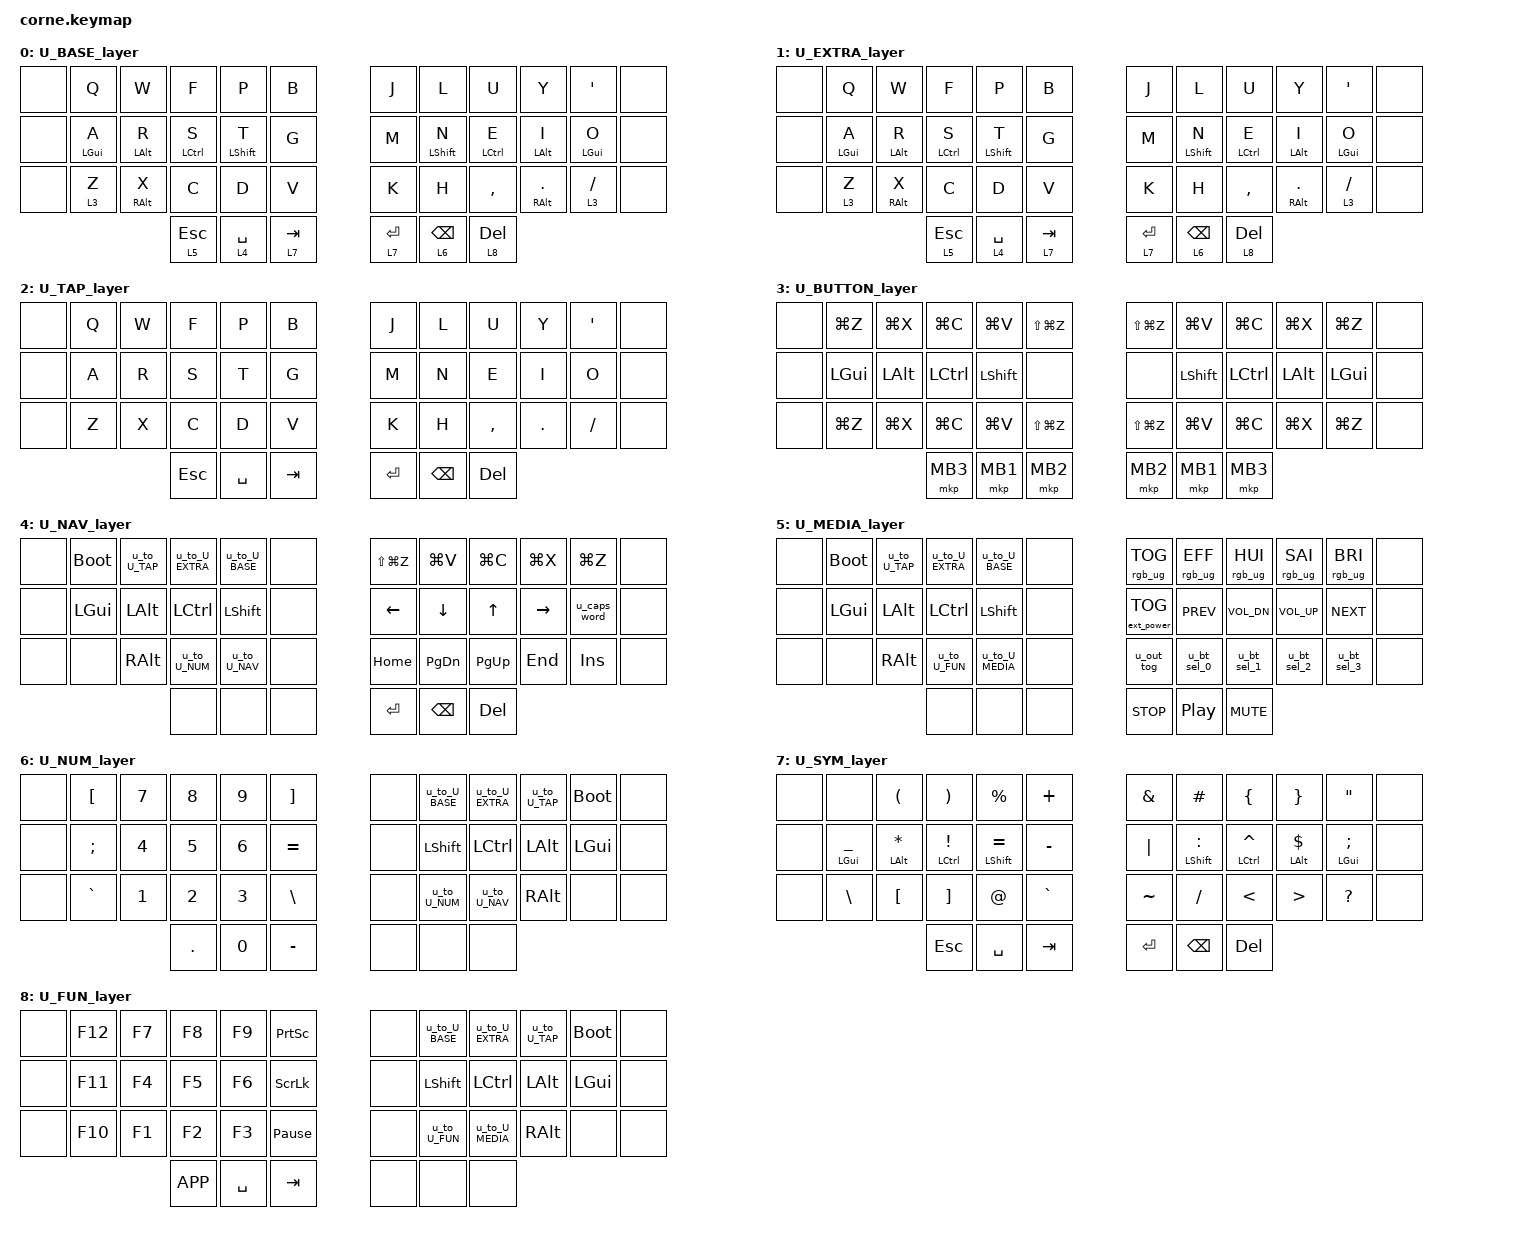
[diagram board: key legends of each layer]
#include <behaviors.dtsi>
#include <dt-bindings/zmk/keys.h>
#include <dt-bindings/zmk/bt.h>
#include <dt-bindings/zmk/ext_power.h>
#include <dt-bindings/zmk/mouse.h>
#include <dt-bindings/zmk/outputs.h>
#include <dt-bindings/zmk/rgb.h>

/ {
  behaviors {
    u_mt: u_mt {
      compatible = "zmk,behavior-hold-tap";
      #binding-cells = <2>;
      tapping-term-ms = <200>;
      flavor = "tap-preferred";
      bindings = <&kp>, <&kp>;
    };
    u_lt: u_lt {
      compatible = "zmk,behavior-hold-tap";
      #binding-cells = <2>;
      tapping-term-ms = <200>;
      flavor = "tap-preferred";
      bindings = <&mo>, <&kp>;
    };
    u_caps_word: u_caps_word {
      compatible = "zmk,behavior-mod-morph";
      #binding-cells = <0>;
      bindings = <&caps_word>, <&kp CAPS>;
      mods = <(MOD_LSFT|MOD_RSFT)>;
    };
    u_out_tog: u_out_tog {
      compatible = "zmk,behavior-mod-morph";
      #binding-cells = <0>;
      bindings = <&out OUT_TOG>, <&out OUT_USB>;
      mods = <(MOD_LSFT|MOD_RSFT)>;
    };
    u_bt_sel_0: u_bt_sel_0 {
      compatible = "zmk,behavior-mod-morph";
      #binding-cells = <0>;
      bindings = <&bt BT_SEL 0>, <&u_macro_u_bt_sel_0>;
      mods = <(MOD_LSFT|MOD_RSFT)>;
    };
    u_bt_sel_1: u_bt_sel_1 {
      compatible = "zmk,behavior-mod-morph";
      #binding-cells = <0>;
      bindings = <&bt BT_SEL 1>, <&u_macro_u_bt_sel_1>;
      mods = <(MOD_LSFT|MOD_RSFT)>;
    };
    u_bt_sel_2: u_bt_sel_2 {
      compatible = "zmk,behavior-mod-morph";
      #binding-cells = <0>;
      bindings = <&bt BT_SEL 2>, <&u_macro_u_bt_sel_2>;
      mods = <(MOD_LSFT|MOD_RSFT)>;
    };
    u_bt_sel_3: u_bt_sel_3 {
      compatible = "zmk,behavior-mod-morph";
      #binding-cells = <0>;
      bindings = <&bt BT_SEL 3>, <&u_macro_u_bt_sel_3>;
      mods = <(MOD_LSFT|MOD_RSFT)>;
    };
    u_to_U_BASE: u_to_U_BASE {
      compatible = "zmk,behavior-tap-dance";
      #binding-cells = <0>;
      tapping-term-ms = <200>;
      bindings = <&none>, <&to 0>;
    };
    u_to_U_EXTRA: u_to_U_EXTRA {
      compatible = "zmk,behavior-tap-dance";
      #binding-cells = <0>;
      tapping-term-ms = <200>;
      bindings = <&none>, <&to 1>;
    };
    u_to_U_TAP: u_to_U_TAP {
      compatible = "zmk,behavior-tap-dance";
      #binding-cells = <0>;
      tapping-term-ms = <200>;
      bindings = <&none>, <&to 2>;
    };
    u_to_U_BUTTON: u_to_U_BUTTON {
      compatible = "zmk,behavior-tap-dance";
      #binding-cells = <0>;
      tapping-term-ms = <200>;
      bindings = <&none>, <&to 3>;
    };
    u_to_U_NAV: u_to_U_NAV {
      compatible = "zmk,behavior-tap-dance";
      #binding-cells = <0>;
      tapping-term-ms = <200>;
      bindings = <&none>, <&to 4>;
    };
    u_to_U_MEDIA: u_to_U_MEDIA {
      compatible = "zmk,behavior-tap-dance";
      #binding-cells = <0>;
      tapping-term-ms = <200>;
      bindings = <&none>, <&to 5>;
    };
    u_to_U_NUM: u_to_U_NUM {
      compatible = "zmk,behavior-tap-dance";
      #binding-cells = <0>;
      tapping-term-ms = <200>;
      bindings = <&none>, <&to 6>;
    };
    u_to_U_SYM: u_to_U_SYM {
      compatible = "zmk,behavior-tap-dance";
      #binding-cells = <0>;
      tapping-term-ms = <200>;
      bindings = <&none>, <&to 7>;
    };
    u_to_U_FUN: u_to_U_FUN {
      compatible = "zmk,behavior-tap-dance";
      #binding-cells = <0>;
      tapping-term-ms = <200>;
      bindings = <&none>, <&to 8>;
    };
  };

  macros {
    u_macro_u_bt_sel_0: u_macro_u_bt_sel_0 {
      compatible = "zmk,behavior-macro";
      #binding-cells = <0>;
      wait-ms = <0>;
      bindings = <&bt BT_SEL 0>, <&bt BT_CLR>;
    };
    u_macro_u_bt_sel_1: u_macro_u_bt_sel_1 {
      compatible = "zmk,behavior-macro";
      #binding-cells = <0>;
      wait-ms = <0>;
      bindings = <&bt BT_SEL 1>, <&bt BT_CLR>;
    };
    u_macro_u_bt_sel_2: u_macro_u_bt_sel_2 {
      compatible = "zmk,behavior-macro";
      #binding-cells = <0>;
      wait-ms = <0>;
      bindings = <&bt BT_SEL 2>, <&bt BT_CLR>;
    };
    u_macro_u_bt_sel_3: u_macro_u_bt_sel_3 {
      compatible = "zmk,behavior-macro";
      #binding-cells = <0>;
      wait-ms = <0>;
      bindings = <&bt BT_SEL 3>, <&bt BT_CLR>;
    };
  };

  keymap {
    compatible = "zmk,keymap";

    // 0: BASE (Colemak DH)
    U_BASE_layer {
      bindings = <
        &none  &kp Q          &kp W          &kp F          &kp P          &kp B          &kp J          &kp L          &kp U          &kp Y          &kp SQT        &none
        &none  &u_mt LGUI A   &u_mt LALT R   &u_mt LCTRL S  &u_mt LSHFT T  &kp G          &kp M          &u_mt LSHFT N  &u_mt LCTRL E  &u_mt LALT I   &u_mt LGUI O   &none
        &none  &u_lt 3 Z      &u_mt RALT X   &kp C          &kp D          &kp V          &kp K          &kp H          &kp COMMA      &u_mt RALT DOT &u_lt 3 SLASH  &none
                              &u_lt 5 ESC    &u_lt 4 SPACE  &u_lt 7 TAB    &u_lt 7 RET    &u_lt 6 BSPC   &u_lt 8 DEL
      >;
    };

    // 1: EXTRA (same as BASE — no alternate alpha layout defined)
    U_EXTRA_layer {
      bindings = <
        &none  &kp Q          &kp W          &kp F          &kp P          &kp B          &kp J          &kp L          &kp U          &kp Y          &kp SQT        &none
        &none  &u_mt LGUI A   &u_mt LALT R   &u_mt LCTRL S  &u_mt LSHFT T  &kp G          &kp M          &u_mt LSHFT N  &u_mt LCTRL E  &u_mt LALT I   &u_mt LGUI O   &none
        &none  &u_lt 3 Z      &u_mt RALT X   &kp C          &kp D          &kp V          &kp K          &kp H          &kp COMMA      &u_mt RALT DOT &u_lt 3 SLASH  &none
                              &u_lt 5 ESC    &u_lt 4 SPACE  &u_lt 7 TAB    &u_lt 7 RET    &u_lt 6 BSPC   &u_lt 8 DEL
      >;
    };

    // 2: TAP (Colemak DH, no hold-tap)
    U_TAP_layer {
      bindings = <
        &none  &kp Q    &kp W    &kp F    &kp P     &kp B    &kp J    &kp L    &kp U      &kp Y    &kp SQT    &none
        &none  &kp A    &kp R    &kp S    &kp T     &kp G    &kp M    &kp N    &kp E      &kp I    &kp O      &none
        &none  &kp Z    &kp X    &kp C    &kp D     &kp V    &kp K    &kp H    &kp COMMA  &kp DOT  &kp SLASH  &none
                        &kp ESC  &kp SPACE  &kp TAB  &kp RET  &kp BSPC  &kp DEL
      >;
    };

    // 3: BUTTON
    U_BUTTON_layer {
      bindings = <
        &none  &kp LG(Z)  &kp LG(X)  &kp LG(C)  &kp LG(V)  &kp LS(LG(Z))    &kp LS(LG(Z))  &kp LG(V)  &kp LG(C)  &kp LG(X)  &kp LG(Z)  &none
        &none  &kp LGUI   &kp LALT   &kp LCTRL  &kp LSHFT  &none             &none           &kp LSHFT  &kp LCTRL  &kp LALT   &kp LGUI   &none
        &none  &kp LG(Z)  &kp LG(X)  &kp LG(C)  &kp LG(V)  &kp LS(LG(Z))    &kp LS(LG(Z))  &kp LG(V)  &kp LG(C)  &kp LG(X)  &kp LG(Z)  &none
                          &mkp MB3   &mkp MB1   &mkp MB2                       &mkp MB2        &mkp MB1   &mkp MB3
      >;
    };

    // 4: NAV (VI style)
    U_NAV_layer {
      bindings = <
        &none  &bootloader   &u_to_U_TAP  &u_to_U_EXTRA  &u_to_U_BASE  &none    &kp LS(LG(Z))  &kp LG(V)  &kp LG(C)  &kp LG(X)  &kp LG(Z)     &none
        &none  &kp LGUI      &kp LALT     &kp LCTRL      &kp LSHFT     &none    &kp LEFT        &kp DOWN   &kp UP     &kp RIGHT  &u_caps_word  &none
        &none  &none         &kp RALT     &u_to_U_NUM    &u_to_U_NAV   &none    &kp HOME        &kp PG_DN  &kp PG_UP  &kp END    &kp INS      &none
                             &none        &none           &none          &kp RET  &kp BSPC        &kp DEL
      >;
    };

    // 5: MEDIA
    U_MEDIA_layer {
      bindings = <
        &none  &bootloader   &u_to_U_TAP  &u_to_U_EXTRA  &u_to_U_BASE  &none    &rgb_ug RGB_TOG   &rgb_ug RGB_EFF  &rgb_ug RGB_HUI  &rgb_ug RGB_SAI  &rgb_ug RGB_BRI   &none
        &none  &kp LGUI      &kp LALT     &kp LCTRL      &kp LSHFT     &none    &ext_power EP_TOG  &kp C_PREV      &kp C_VOL_DN    &kp C_VOL_UP    &kp C_NEXT        &none
        &none  &none         &kp RALT     &u_to_U_FUN    &u_to_U_MEDIA &none    &u_out_tog          &u_bt_sel_0     &u_bt_sel_1     &u_bt_sel_2     &u_bt_sel_3       &none
                             &none        &none           &none          &kp C_STOP  &kp C_PP       &kp C_MUTE
      >;
    };

    // 6: NUM
    U_NUM_layer {
      bindings = <
        &none  &kp LBKT   &kp N7   &kp N8   &kp N9   &kp RBKT     &none  &u_to_U_BASE  &u_to_U_EXTRA  &u_to_U_TAP  &bootloader  &none
        &none  &kp SEMI   &kp N4   &kp N5   &kp N6   &kp EQUAL    &none  &kp LSHFT     &kp LCTRL      &kp LALT     &kp LGUI     &none
        &none  &kp GRAVE  &kp N1   &kp N2   &kp N3   &kp BSLH     &none  &u_to_U_NUM   &u_to_U_NAV    &kp RALT     &none        &none
                          &kp DOT  &kp N0   &kp MINUS  &none        &none  &none
      >;
    };

    // 7: SYM (custom layer from custom_config.h)
    U_SYM_layer {
      bindings = <
        &none  &none              &kp LPAR          &kp RPAR           &kp PRCNT          &kp PLUS     &kp AMPS  &kp HASH           &kp LBRC           &kp RBRC          &kp DQT          &none
        &none  &u_mt LGUI UNDER   &u_mt LALT STAR   &u_mt LCTRL EXCL   &u_mt LSHFT EQUAL  &kp MINUS    &kp PIPE  &u_mt LSHFT COLON  &u_mt LCTRL CARET  &u_mt LALT DLLR   &u_mt LGUI SEMI  &none
        &none  &kp BSLH           &kp LBKT          &kp RBKT            &kp AT             &kp GRAVE    &kp TILDE &kp SLASH          &kp LT             &kp GT            &kp QMARK        &none
                                  &kp ESC           &kp SPACE          &kp TAB            &kp RET      &kp BSPC  &kp DEL
      >;
    };

    // 8: FUN
    U_FUN_layer {
      bindings = <
        &none  &kp F12  &kp F7   &kp F8     &kp F9     &kp PSCRN        &none  &u_to_U_BASE  &u_to_U_EXTRA  &u_to_U_TAP  &bootloader  &none
        &none  &kp F11  &kp F4   &kp F5     &kp F6     &kp SLCK         &none  &kp LSHFT     &kp LCTRL      &kp LALT     &kp LGUI     &none
        &none  &kp F10  &kp F1   &kp F2     &kp F3     &kp PAUSE_BREAK  &none  &u_to_U_FUN   &u_to_U_MEDIA  &kp RALT     &none        &none
                        &kp K_APP  &kp SPACE  &kp TAB  &none  &none  &none
      >;
    };
  };
};
